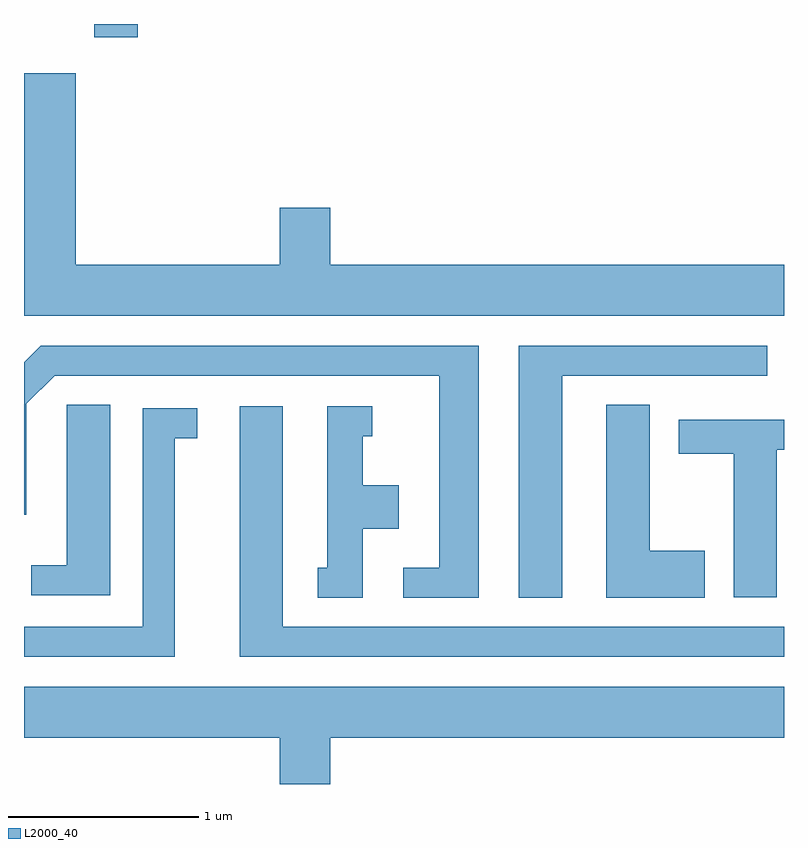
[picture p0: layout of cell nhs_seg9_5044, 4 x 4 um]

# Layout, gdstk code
import gdstk
lib = gdstk.Library(unit=1e-6, precision=1e-09)
def R(c, l, rs):  # rectangles x0, y0, x1, y1
    for r in rs: c.add(gdstk.rectangle(r[:2], r[2:], *l))
def P(c, l, *ps):  # polygons
    for p in ps: c.add(gdstk.Polygon(p, *l))
L2000_40 = (2000, 40)

nhs_seg9_5044 = lib.new_cell('nhs_seg9_5044')
R(nhs_seg9_5044, L2000_40, [(333.981,2024.361,334.209,2024.432)])
P(nhs_seg9_5044, L2000_40, [(337.611,2023.164),(335.224,2023.164),(335.224,2023.464),(334.956,2023.464),(334.956,2023.164),(333.884,2023.164),(333.884,2024.174),(333.611,2024.174),(333.611,2022.896),(337.611,2022.896)],
  [(336.004,2022.739),(333.699,2022.739),(333.611,2022.651),(333.611,2021.848),(333.624,2021.848),(333.624,2022.434),(333.772,2022.581),(335.796,2022.581),(335.796,2021.569),(335.608,2021.569),(335.608,2021.411),(336.004,2021.411)],
  [(336.444,2022.581),(337.523,2022.581),(337.523,2022.739),(336.216,2022.739),(336.216,2021.411),(336.444,2021.411)],
  [(334.064,2022.429),(333.836,2022.429),(333.836,2021.584),(333.648,2021.584),(333.648,2021.426),(334.064,2021.426)],
  [(337.194,2021.659),(336.904,2021.659),(336.904,2022.429),(336.676,2022.429),(336.676,2021.411),(337.194,2021.411)],
  [(335.394,2021.776),(335.584,2021.776),(335.584,2022.004),(335.394,2022.004),(335.394,2022.261),(335.443,2022.261),(335.443,2022.419),(335.206,2022.419),(335.206,2021.569),(335.158,2021.569),(335.158,2021.411),(335.394,2021.411)],
  [(337.611,2021.259),(334.974,2021.259),(334.974,2022.419),(334.746,2022.419),(334.746,2021.101),(337.611,2021.101)],
  [(334.404,2022.251),(334.523,2022.251),(334.523,2022.409),(334.236,2022.409),(334.236,2021.259),(333.611,2021.259),(333.611,2021.101),(334.404,2021.101)],
  [(337.574,2022.191),(337.611,2022.191),(337.611,2022.349),(337.056,2022.349),(337.056,2022.171),(337.346,2022.171),(337.346,2021.416),(337.574,2021.416)],
  [(335.224,2020.676),(337.611,2020.676),(337.611,2020.944),(333.611,2020.944),(333.611,2020.676),(334.956,2020.676),(334.956,2020.432),(335.224,2020.432)])

lib.write_gds('nhs_seg9_5044.gds')
